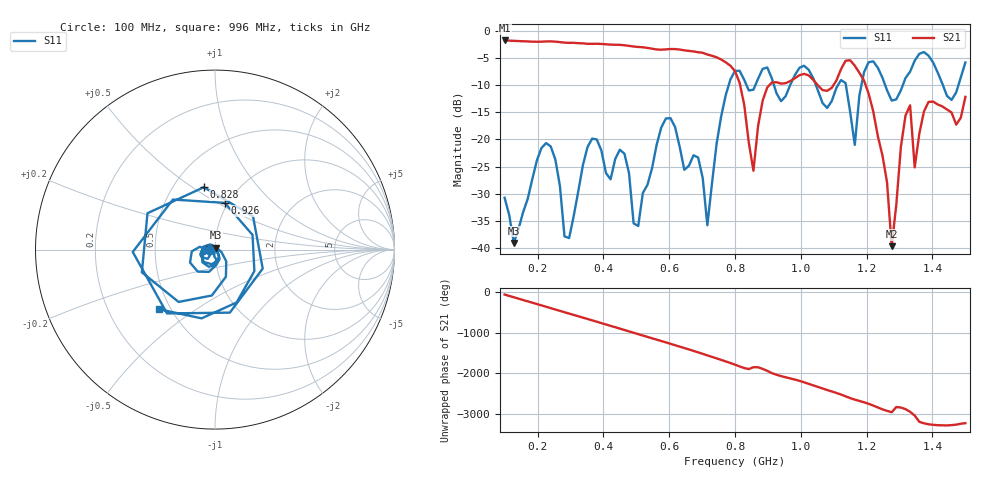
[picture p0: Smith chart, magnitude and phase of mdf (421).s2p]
! NanoVNA-App
! Date: 2025-09-25 15:41:42
! Start: 100MHz Stop: 1,5GHz Points: 101
! S-Parameter data: F S11 S21 S12 S22
# Hz S RI R 50
!  Frequency  S11_Real  S11_Imag  S21_Real  S21_Imag  S12_Real  S12_Imag  S22_Real  S22_Imag
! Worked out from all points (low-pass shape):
!   101 points, 100 MHz to 1.5 GHz, reference 50 ohm
!   highest |S21| = -1.80 dB at 100 MHz (marker M1); lowest = -39.6 dB at 1.276 GHz (marker M2)
!   |S21| within 3 dB of the highest: start of sweep to 739.2 MHz
!   lowest |S11| = -39.0 dB at 128 MHz (marker M3), VSWR 1.02, Z = 50.3 + j1.07 ohm
!   |S11| at or under -10 dB: start of sweep to 781 MHz; 1.046 GHz to 1.113 GHz (67.51 MHz wide, 6.25 % of centre); 1.256 GHz to 1.31 GHz (53.96 MHz wide, 4.21 % of centre) (the widest 3 of 7)
!   S12 and S22 are empty: the file has one direction only
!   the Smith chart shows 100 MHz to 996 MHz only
!   S11 on the Smith chart (normalised r, x): 100 MHz: 0.94, -0.01; 828 MHz: 0.70, +0.56; 926 MHz: 0.97, +0.54; 996 MHz: 0.43, -0.36
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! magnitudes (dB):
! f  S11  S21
! 100 MHz  -30.7  -1.8
! 128 MHz  -39.0  -1.9
! 212 MHz  -21.6  -2.0
! 282 MHz  -37.8  -2.2
! 338 MHz  -24.7  -2.3
! 464 MHz  -22.6  -2.7
! 506 MHz  -35.9  -3.0
! 576 MHz  -17.8  -3.5
! 688 MHz  -23.3  -4.0
! 716 MHz  -35.8  -4.4
! 800 MHz  -7.4  -7.5
! 828 MHz  -9.0  -13.6
! 856 MHz  -10.9  -25.8
! 926 MHz  -11.5  -9.5
! 996 MHz  -6.8  -8.2
! 1.038 GHz  -8.8  -9.1
! 1.164 GHz  -21.0  -6.5
! 1.192 GHz  -7.6  -9.2
! 1.276 GHz  -12.9  -39.6
! 1.332 GHz  -7.5  -13.7
! 1.346 GHz  -5.5  -25.2
! 1.5 GHz  -5.9  -12.2
